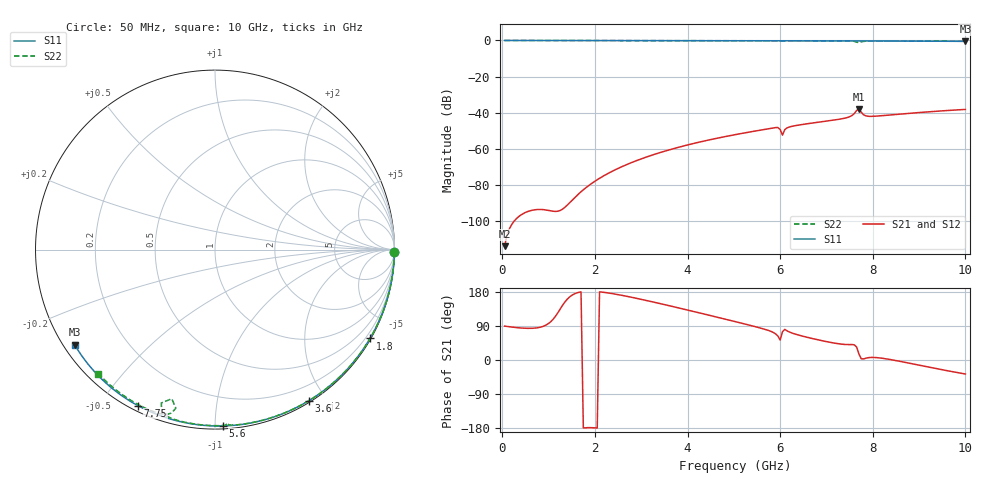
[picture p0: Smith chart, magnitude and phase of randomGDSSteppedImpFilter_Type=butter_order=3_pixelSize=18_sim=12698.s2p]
! freq	dB(S11)	phase(S11)	dB(S12)	phase(S12)
!  dB(S21)	phase(S21)	dB(S22)	phase(S22)
!S-par simulation data
#  GHz  S  DB  R 50
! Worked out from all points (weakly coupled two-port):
!   200 points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, 50 MHz to 10 GHz, reference 50 ohm
!   highest |S21| = -37.94 dB at 7.7 GHz (marker M1); lowest = -113.9 dB at 50 MHz (marker M2)
!   lowest |S11| = -0.5 dB at 10 GHz (marker M3), VSWR 35.08, Z = 1.56 - j15.3 ohm
!   |S11| at or under -10 dB: nowhere
!   |S22| runs from -1.3 to 0.0 dB; largest |S21 - S12| = 0
!   S11 on the Smith chart (normalised r, x): 50 MHz: open; 1.8 GHz: 0.03, -3.76; 3.6 GHz: 0.02, -1.80; 5.6 GHz: 0.02, -1.05; 7.75 GHz: 0.02, -0.62; 10 GHz: 0.03, -0.31
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0.05  -0.00 -0.8  -113.88 89.5  -113.88 89.5  -0.00 -0.8
1.75  -0.04 -29.0  -82.67 -179.3  -82.67 -179.3  -0.03 -26.6
1.8  -0.04 -29.8  -81.63 -178.8  -81.63 -178.8  -0.03 -27.3
1.9  -0.04 -31.4  -79.70 -178.5  -79.70 -178.5  -0.04 -28.8
2.65  -0.06 -43.4  -69.10 169.0  -69.10 169.0  -0.05 -39.8
3.4  -0.07 -55.1  -62.11 149.1  -62.11 149.1  -0.07 -50.6
3.6  -0.08 -58.2  -60.59 143.4  -60.59 143.4  -0.07 -53.4
5.05  -0.12 -79.6  -52.03 100.7  -52.03 100.7  -0.11 -73.3
5.6  -0.14 -87.3  -49.53 83.4  -49.53 83.4  -0.13 -80.5
5.95  -0.16 -92.2  -48.17 63.6  -48.17 63.6  -0.18 -85.4
6  -0.16 -92.9  -49.28 52.5  -49.28 52.5  -0.24 -86.1
6.05  -0.17 -93.6  -52.40 74.7  -52.40 74.7  -0.26 -85.9
6.1  -0.17 -94.3  -49.38 80.7  -49.38 80.7  -0.19 -86.5
6.15  -0.17 -94.9  -48.38 76.9  -48.38 76.9  -0.17 -87.3
6.7  -0.20 -102.4  -45.69 56.5  -45.69 56.5  -0.18 -94.5
7.45  -0.25 -112.4  -42.66 40.7  -42.66 40.7  -0.27 -104.9
7.65  -0.26 -115.0  -38.79 34.4  -38.79 34.4  -0.86 -109.3
7.7  -0.26 -115.6  -37.94 16.2  -37.94 16.2  -1.26 -106.2
7.75  -0.27 -116.3  -39.67 3.3  -39.67 3.3  -0.82 -103.9
7.9  -0.28 -118.3  -41.97 6.0  -41.97 6.0  -0.36 -107.0
8.35  -0.32 -124.1  -41.30 1.8  -41.30 1.8  -0.31 -113.5
10  -0.50 -145.9  -38.18 -37.0  -38.18 -37.0  -0.46 -133.2
